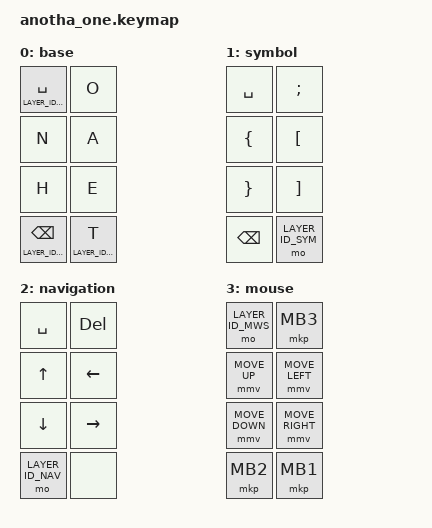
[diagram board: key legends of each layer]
/*
 * Copyright (c) 2022 The ZMK Contributors
 *
 * SPDX-License-Identifier: MIT
 */

#include <behaviors.dtsi>
#include <dt-bindings/zmk/keys.h>
#include <dt-bindings/zmk/bt.h>
#include <dt-bindings/zmk/pointing.h>

#define TIMEOUT_COMBO_2 20
#define TIMEOUT_COMBO_3 25
#define TIMEOUT_COMBO_4 30
#define TIMEOUT_COMBO_5 35

#define TIMEOUT_LAYER_HOLD 200
#define TIMEOUT_STICKY_LEADER_KEY 5000

#define QUICK_TAP_TIME 200

#define KEY_SPACE 0
#define KEY_O 1
#define KEY_N 2
#define KEY_A 3
#define KEY_H 4
#define KEY_E 5
#define KEY_BSPC 6
#define KEY_T 7

#define LAYER_ID_BASE 0
#define LAYER_ID_SYM  1
#define LAYER_ID_NAV  2
#define LAYER_ID_MWS  3

&sk {
	release-after-ms = <TIMEOUT_STICKY_LEADER_KEY>;
};

/ {
    combos {
        compatible = "zmk,combos";

        // Base: 1st row
        combo_l       { layers = <LAYER_ID_BASE>; timeout-ms = <TIMEOUT_COMBO_2>; key-positions = <KEY_O KEY_N>; bindings = <&kp L>; };
        combo_r       { layers = <LAYER_ID_BASE>; timeout-ms = <TIMEOUT_COMBO_2>; key-positions = <KEY_O KEY_H>; bindings = <&kp R>; };
        // Base: 2nd row
        combo_b       { layers = <LAYER_ID_BASE>; timeout-ms = <TIMEOUT_COMBO_2>; key-positions = <KEY_O KEY_A>; bindings = <&kp B>; };
        combo_g       { layers = <LAYER_ID_BASE>; timeout-ms = <TIMEOUT_COMBO_2>; key-positions = <KEY_O KEY_E>; bindings = <&kp G>; };
        // Base: 3rd row
        combo_y       { layers = <LAYER_ID_BASE>; timeout-ms = <TIMEOUT_COMBO_2>; key-positions = <KEY_N KEY_A>; bindings = <&kp Y>; };
        combo_f       { layers = <LAYER_ID_BASE>; timeout-ms = <TIMEOUT_COMBO_2>; key-positions = <KEY_H KEY_E>; bindings = <&kp F>; };
        // Base: 4th row
        combo_x       { layers = <LAYER_ID_BASE>; timeout-ms = <TIMEOUT_COMBO_3>; key-positions = <KEY_O KEY_N KEY_A>; bindings = <&kp X>; };
        combo_q       { layers = <LAYER_ID_BASE>; timeout-ms = <TIMEOUT_COMBO_3>; key-positions = <KEY_O KEY_H KEY_E>; bindings = <&kp Q>; };
        // Base: 5th row
        combo_comma   { layers = <LAYER_ID_BASE>; timeout-ms = <TIMEOUT_COMBO_3>; key-positions = <KEY_H KEY_A>; bindings = <&kp COMMA>; };
        combo_period  { layers = <LAYER_ID_BASE>; timeout-ms = <TIMEOUT_COMBO_3>; key-positions = <KEY_N KEY_E>; bindings = <&kp PERIOD>; };

        // T: 1st row
        combo_m       { layers = <LAYER_ID_BASE>; timeout-ms = <TIMEOUT_COMBO_3>; key-positions = <KEY_O KEY_N KEY_T>; bindings = <&kp M>; };
        combo_u       { layers = <LAYER_ID_BASE>; timeout-ms = <TIMEOUT_COMBO_2>; key-positions = <KEY_A KEY_T>; bindings = <&kp U>; };
        combo_w       { layers = <LAYER_ID_BASE>; timeout-ms = <TIMEOUT_COMBO_3>; key-positions = <KEY_O KEY_H KEY_T>; bindings = <&kp W>; };
        combo_i       { layers = <LAYER_ID_BASE>; timeout-ms = <TIMEOUT_COMBO_2>; key-positions = <KEY_E KEY_T>; bindings = <&kp I>; };
        // T: 2nd row
        combo_p       { layers = <LAYER_ID_BASE>; timeout-ms = <TIMEOUT_COMBO_3>; key-positions = <KEY_O KEY_A KEY_T>; bindings = <&kp P>; };
        combo_d       { layers = <LAYER_ID_BASE>; timeout-ms = <TIMEOUT_COMBO_2>; key-positions = <KEY_N KEY_T>; bindings = <&kp D>; };
        combo_k       { layers = <LAYER_ID_BASE>; timeout-ms = <TIMEOUT_COMBO_3>; key-positions = <KEY_O KEY_E KEY_T>; bindings = <&kp K>; };
        combo_c       { layers = <LAYER_ID_BASE>; timeout-ms = <TIMEOUT_COMBO_2>; key-positions = <KEY_H KEY_T>; bindings = <&kp C>; };
        // T: 3rd row
        combo_s       { layers = <LAYER_ID_BASE>; timeout-ms = <TIMEOUT_COMBO_2>; key-positions = <KEY_O KEY_T>; bindings = <&kp S>; };
        combo_j       { layers = <LAYER_ID_BASE>; timeout-ms = <TIMEOUT_COMBO_3>; key-positions = <KEY_N KEY_A KEY_T>; bindings = <&kp J>; };
        combo_v       { layers = <LAYER_ID_BASE>; timeout-ms = <TIMEOUT_COMBO_3>; key-positions = <KEY_H KEY_E KEY_T>; bindings = <&kp V>; };
        // T: 4th row
        combo_z       { layers = <LAYER_ID_BASE>; timeout-ms = <TIMEOUT_COMBO_4>; key-positions = <KEY_O KEY_N KEY_A KEY_T>; bindings = <&kp Z>; };
        combo_colon   { layers = <LAYER_ID_BASE>; timeout-ms = <TIMEOUT_COMBO_4>; key-positions = <KEY_O KEY_H KEY_E KEY_T>; bindings = <&kp COLON>; };
        // T: 5th row
        combo_grave   { layers = <LAYER_ID_BASE>; timeout-ms = <TIMEOUT_COMBO_3>; key-positions = <KEY_H KEY_A KEY_T>; bindings = <&kp GRAVE>; };
        combo_tilde   { layers = <LAYER_ID_BASE>; timeout-ms = <TIMEOUT_COMBO_3>; key-positions = <KEY_N KEY_E KEY_T>; bindings = <&kp TILDE>; };

        // Symbol: 1st row
        combo_squote  { layers = <LAYER_ID_SYM>; timeout-ms = <TIMEOUT_COMBO_2>; key-positions = <KEY_O KEY_N>; bindings = <&kp SQT>; };
        combo_dquote  { layers = <LAYER_ID_SYM>; timeout-ms = <TIMEOUT_COMBO_2>; key-positions = <KEY_O KEY_H>; bindings = <&kp DQT>; };
        // Symbol: 2nd row
        combo_amps    { layers = <LAYER_ID_SYM>; timeout-ms = <TIMEOUT_COMBO_2>; key-positions = <KEY_O KEY_A>; bindings = <&kp AMPS>; };
        combo_dollar  { layers = <LAYER_ID_SYM>; timeout-ms = <TIMEOUT_COMBO_2>; key-positions = <KEY_O KEY_E>; bindings = <&kp DOLLAR>; };
        // Symbol: 3rd row
        combo_lpar    { layers = <LAYER_ID_SYM>; timeout-ms = <TIMEOUT_COMBO_2>; key-positions = <KEY_N KEY_A>; bindings = <&kp LPAR>; };
        combo_rpar    { layers = <LAYER_ID_SYM>; timeout-ms = <TIMEOUT_COMBO_2>; key-positions = <KEY_H KEY_E>; bindings = <&kp RPAR>; };
        // Symbol: 4th row
        combo_bslh    { layers = <LAYER_ID_SYM>; timeout-ms = <TIMEOUT_COMBO_3>; key-positions = <KEY_O KEY_N KEY_A>; bindings = <&kp BSLH>; };
        combo_pipe    { layers = <LAYER_ID_SYM>; timeout-ms = <TIMEOUT_COMBO_3>; key-positions = <KEY_O KEY_H KEY_E>; bindings = <&kp PIPE>; };
        // Symbol: 5th row
        combo_lt      { layers = <LAYER_ID_SYM>; timeout-ms = <TIMEOUT_COMBO_3>; key-positions = <KEY_H KEY_A>; bindings = <&kp LT>; };
        combo_gt      { layers = <LAYER_ID_SYM>; timeout-ms = <TIMEOUT_COMBO_3>; key-positions = <KEY_N KEY_E>; bindings = <&kp GT>; };

        // Backspace: 1st row
        combo_n5      { layers = <LAYER_ID_BASE>; timeout-ms = <TIMEOUT_COMBO_3>; key-positions = <KEY_O KEY_N KEY_BSPC>; bindings = <&kp N5>; };
        combo_n3      { layers = <LAYER_ID_BASE>; timeout-ms = <TIMEOUT_COMBO_2>; key-positions = <KEY_A KEY_BSPC>; bindings = <&kp N3>; };
        combo_n6      { layers = <LAYER_ID_BASE>; timeout-ms = <TIMEOUT_COMBO_3>; key-positions = <KEY_O KEY_H KEY_BSPC>; bindings = <&kp N6>; };
        combo_n4      { layers = <LAYER_ID_BASE>; timeout-ms = <TIMEOUT_COMBO_2>; key-positions = <KEY_E KEY_BSPC>; bindings = <&kp N4>; };
        // Backspace: 2nd row
        combo_n7      { layers = <LAYER_ID_BASE>; timeout-ms = <TIMEOUT_COMBO_3>; key-positions = <KEY_O KEY_A KEY_BSPC>; bindings = <&kp N7>; };
        combo_n1      { layers = <LAYER_ID_BASE>; timeout-ms = <TIMEOUT_COMBO_2>; key-positions = <KEY_N KEY_BSPC>; bindings = <&kp N1>; };
        combo_n8      { layers = <LAYER_ID_BASE>; timeout-ms = <TIMEOUT_COMBO_3>; key-positions = <KEY_O KEY_E KEY_BSPC>; bindings = <&kp N8>; };
        combo_n2      { layers = <LAYER_ID_BASE>; timeout-ms = <TIMEOUT_COMBO_2>; key-positions = <KEY_H KEY_BSPC>; bindings = <&kp N2>; };
        // Backspace: 3rd row
        combo_minus   { layers = <LAYER_ID_BASE>; timeout-ms = <TIMEOUT_COMBO_2>; key-positions = <KEY_O KEY_BSPC>; bindings = <&kp MINUS>; };
        combo_n9      { layers = <LAYER_ID_BASE>; timeout-ms = <TIMEOUT_COMBO_3>; key-positions = <KEY_N KEY_A KEY_BSPC>; bindings = <&kp N9>; };
        combo_n0      { layers = <LAYER_ID_BASE>; timeout-ms = <TIMEOUT_COMBO_3>; key-positions = <KEY_H KEY_E KEY_BSPC>; bindings = <&kp N0>; };
        // Backspace: 4th row
        combo_equal   { layers = <LAYER_ID_BASE>; timeout-ms = <TIMEOUT_COMBO_4>; key-positions = <KEY_O KEY_N KEY_A KEY_BSPC>; bindings = <&kp EQUAL>; };
        combo_plus    { layers = <LAYER_ID_BASE>; timeout-ms = <TIMEOUT_COMBO_4>; key-positions = <KEY_O KEY_H KEY_E KEY_BSPC>; bindings = <&kp PLUS>; };
        // Backspace: 5th row
        combo_astrk   { layers = <LAYER_ID_BASE>; timeout-ms = <TIMEOUT_COMBO_3>; key-positions = <KEY_H KEY_A KEY_BSPC>; bindings = <&kp ASTRK>; };
        combo_fslh    { layers = <LAYER_ID_BASE>; timeout-ms = <TIMEOUT_COMBO_3>; key-positions = <KEY_N KEY_E KEY_BSPC>; bindings = <&kp FSLH>; };

        // Backspace + Space: 1st row
        combo_f5      { layers = <LAYER_ID_BASE>; timeout-ms = <TIMEOUT_COMBO_4>; key-positions = <KEY_SPACE KEY_O KEY_N KEY_BSPC>; bindings = <&kp F5>; };
        combo_f3      { layers = <LAYER_ID_BASE>; timeout-ms = <TIMEOUT_COMBO_3>; key-positions = <KEY_SPACE KEY_A KEY_BSPC>; bindings = <&kp F3>; };
        combo_f6      { layers = <LAYER_ID_BASE>; timeout-ms = <TIMEOUT_COMBO_4>; key-positions = <KEY_SPACE KEY_O KEY_H KEY_BSPC>; bindings = <&kp F6>; };
        combo_f4      { layers = <LAYER_ID_BASE>; timeout-ms = <TIMEOUT_COMBO_3>; key-positions = <KEY_SPACE KEY_E KEY_BSPC>; bindings = <&kp F4>; };
        // Backspace + Space: 2nd row
        combo_f7      { layers = <LAYER_ID_BASE>; timeout-ms = <TIMEOUT_COMBO_4>; key-positions = <KEY_SPACE KEY_O KEY_A KEY_BSPC>; bindings = <&kp F7>; };
        combo_f1      { layers = <LAYER_ID_BASE>; timeout-ms = <TIMEOUT_COMBO_3>; key-positions = <KEY_SPACE KEY_N KEY_BSPC>; bindings = <&kp F1>; };
        combo_f8      { layers = <LAYER_ID_BASE>; timeout-ms = <TIMEOUT_COMBO_4>; key-positions = <KEY_SPACE KEY_O KEY_E KEY_BSPC>; bindings = <&kp F8>; };
        combo_f2      { layers = <LAYER_ID_BASE>; timeout-ms = <TIMEOUT_COMBO_3>; key-positions = <KEY_SPACE KEY_H KEY_BSPC>; bindings = <&kp F2>; };
        // Backspace + Space: 3rd row
        combo_pscrn   { layers = <LAYER_ID_BASE>; timeout-ms = <TIMEOUT_COMBO_3>; key-positions = <KEY_SPACE KEY_O KEY_BSPC>; bindings = <&kp PSCRN>; };
        combo_f9      { layers = <LAYER_ID_BASE>; timeout-ms = <TIMEOUT_COMBO_4>; key-positions = <KEY_SPACE KEY_N KEY_A KEY_BSPC>; bindings = <&kp F9>; };
        combo_f10     { layers = <LAYER_ID_BASE>; timeout-ms = <TIMEOUT_COMBO_4>; key-positions = <KEY_SPACE KEY_H KEY_E KEY_BSPC>; bindings = <&kp F10>; };
        // Backspace + Space: 4th row
        combo_f11     { layers = <LAYER_ID_BASE>; timeout-ms = <TIMEOUT_COMBO_5>; key-positions = <KEY_SPACE KEY_O KEY_N KEY_A KEY_BSPC>; bindings = <&kp F11>; };
        combo_f12     { layers = <LAYER_ID_BASE>; timeout-ms = <TIMEOUT_COMBO_5>; key-positions = <KEY_SPACE KEY_O KEY_H KEY_E KEY_BSPC>; bindings = <&kp F12>; };
        // Backspace + Space: 5th row
        combo_br_up   { layers = <LAYER_ID_BASE>; timeout-ms = <TIMEOUT_COMBO_4>; key-positions = <KEY_SPACE KEY_H KEY_A KEY_BSPC>; bindings = <&kp C_BRI_UP>; };
        combo_br_dn   { layers = <LAYER_ID_BASE>; timeout-ms = <TIMEOUT_COMBO_4>; key-positions = <KEY_SPACE KEY_N KEY_E KEY_BSPC>; bindings = <&kp C_BRI_DN>; };

        // Navigation: 1st row
        combo_pg_up   { layers = <LAYER_ID_NAV>; timeout-ms = <TIMEOUT_COMBO_2>; key-positions = <KEY_O KEY_N>; bindings = <&kp PG_UP>; };
        combo_pg_dn   { layers = <LAYER_ID_NAV>; timeout-ms = <TIMEOUT_COMBO_2>; key-positions = <KEY_O KEY_H>; bindings = <&kp PG_DN>; };
        // Navigation: 2nd row
        combo_home    { layers = <LAYER_ID_NAV>; timeout-ms = <TIMEOUT_COMBO_2>; key-positions = <KEY_O KEY_A>; bindings = <&kp HOME>; };
        combo_end     { layers = <LAYER_ID_NAV>; timeout-ms = <TIMEOUT_COMBO_2>; key-positions = <KEY_O KEY_E>; bindings = <&kp END>; };
        // Navigation: 3rd row
        combo_copy    { layers = <LAYER_ID_NAV>; timeout-ms = <TIMEOUT_COMBO_2>; key-positions = <KEY_N KEY_A>; bindings = <&kp C_AC_COPY>; };
        combo_paste   { layers = <LAYER_ID_NAV>; timeout-ms = <TIMEOUT_COMBO_2>; key-positions = <KEY_H KEY_E>; bindings = <&kp C_AC_PASTE>; };
        // Navigation: 4th row
        combo_volup   { layers = <LAYER_ID_NAV>; timeout-ms = <TIMEOUT_COMBO_3>; key-positions = <KEY_O KEY_N KEY_A>; bindings = <&kp C_VOL_UP>; };
        combo_voldn   { layers = <LAYER_ID_NAV>; timeout-ms = <TIMEOUT_COMBO_3>; key-positions = <KEY_O KEY_H KEY_E>; bindings = <&kp C_VOL_DN>; };
        // Navigation: 5th row
        combo_hash    { layers = <LAYER_ID_NAV>; timeout-ms = <TIMEOUT_COMBO_3>; key-positions = <KEY_H KEY_A>; bindings = <&kp HASH>; };
        combo_excl    { layers = <LAYER_ID_NAV>; timeout-ms = <TIMEOUT_COMBO_3>; key-positions = <KEY_N KEY_E>; bindings = <&kp EXCL>; };

        // Mouse: 1st row
        combo_scrl_up { layers = <LAYER_ID_MWS>; timeout-ms = <TIMEOUT_COMBO_2>; key-positions = <KEY_O KEY_N>; bindings = <&msc SCRL_UP>; };
        combo_scrl_dn { layers = <LAYER_ID_MWS>; timeout-ms = <TIMEOUT_COMBO_2>; key-positions = <KEY_O KEY_H>; bindings = <&msc SCRL_DOWN>; };
        // Mouse: 2nd row
        combo_scrl_l  { layers = <LAYER_ID_MWS>; timeout-ms = <TIMEOUT_COMBO_2>; key-positions = <KEY_O KEY_A>; bindings = <&msc SCRL_LEFT>; };
        combo_scrl_r  { layers = <LAYER_ID_MWS>; timeout-ms = <TIMEOUT_COMBO_2>; key-positions = <KEY_O KEY_E>; bindings = <&msc SCRL_RIGHT>; };
        // Mouse: 3rd row
        combo_m4      { layers = <LAYER_ID_MWS>; timeout-ms = <TIMEOUT_COMBO_2>; key-positions = <KEY_N KEY_A>; bindings = <&mkp MB4>; };
        combo_m5      { layers = <LAYER_ID_MWS>; timeout-ms = <TIMEOUT_COMBO_2>; key-positions = <KEY_H KEY_E>; bindings = <&mkp MB5>; };
        // Mouse: 4th row
        // combo_acl0    { layers = <LAYER_ID_MWS>; timeout-ms = <TIMEOUT_COMBO_3>; key-positions = <KEY_O KEY_N KEY_A>; bindings = <>; };
        // combo_acl1    { layers = <LAYER_ID_MWS>; timeout-ms = <TIMEOUT_COMBO_3>; key-positions = <KEY_O KEY_H KEY_E>; bindings = <>; };

        // Modifiers: 1st row
        combo_shift   { layers = <LAYER_ID_BASE>; timeout-ms = <TIMEOUT_COMBO_3>; key-positions = <KEY_SPACE KEY_O KEY_N>; bindings = <&sk LSHFT>; };
        combo_gui     { layers = <LAYER_ID_BASE>; timeout-ms = <TIMEOUT_COMBO_3>; key-positions = <KEY_SPACE KEY_O KEY_A>; bindings = <&sk LGUI>; };
        // Modifiers: 2nd row
        combo_alt     { layers = <LAYER_ID_BASE>; timeout-ms = <TIMEOUT_COMBO_3>; key-positions = <KEY_SPACE KEY_O KEY_H>; bindings = <&sk LALT>; };
        combo_ctrl    { layers = <LAYER_ID_BASE>; timeout-ms = <TIMEOUT_COMBO_3>; key-positions = <KEY_SPACE KEY_O KEY_E>; bindings = <&sk LCTRL>; };
        // Modifiers: 3rd row
        combo_insert  { layers = <LAYER_ID_BASE>; timeout-ms = <TIMEOUT_COMBO_2>; key-positions = <KEY_N KEY_H>; bindings = <&kp INSERT>; };
        combo_tab     { layers = <LAYER_ID_BASE>; timeout-ms = <TIMEOUT_COMBO_2>; key-positions = <KEY_SPACE KEY_A>; bindings = <&kp TAB>; };
        // Modifiers: 4th row
        combo_escape  { layers = <LAYER_ID_BASE>; timeout-ms = <TIMEOUT_COMBO_2>; key-positions = <KEY_A KEY_E>; bindings = <&kp ESCAPE>; };
        combo_enter   { layers = <LAYER_ID_BASE>; timeout-ms = <TIMEOUT_COMBO_2>; key-positions = <KEY_SPACE KEY_E>; bindings = <&kp ENTER>; };
    };
};

// Layer on hold, key on press with quick-tap possibility
/ {
    behaviors {
        layer_kp_qt: layer_kp_qt {
            compatible = "zmk,behavior-hold-tap";
            #binding-cells = <2>;
            tapping_term_ms = <TIMEOUT_LAYER_HOLD>;
            quick-tap-ms = <QUICK_TAP_TIME>;
            flavor = "tap-preferred";
            bindings = <&mo>, <&kp>;
        };
    };
};

// Layer on hold, key on press
/ {
    behaviors {
        layer_kp: layer_kp {
            compatible = "zmk,behavior-hold-tap";
            #binding-cells = <2>;
            tapping_term_ms = <TIMEOUT_LAYER_HOLD>;
            flavor = "tap-preferred";
            bindings = <&mo>, <&kp>;
        };
    };
};

/ {
    keymap {
        compatible = "zmk,keymap";

        base {
            bindings = <
                &layer_kp_qt LAYER_ID_MWS SPACE &kp O
                &kp N                           &kp A
                &kp H                           &kp E
                &layer_kp_qt LAYER_ID_NAV BSPC  &layer_kp LAYER_ID_SYM T
            >;
        };

        symbol {
            bindings = <
                &kp SPACE        &kp SEMI
                &kp LBRC         &kp LBKT
                &kp RBRC         &kp RBKT
                &kp BSPC         &mo LAYER_ID_SYM
            >;
        };

        navigation {
            bindings = <
                &kp SPACE        &kp DEL
                &kp UP           &kp LEFT
                &kp DOWN         &kp RIGHT
                &mo LAYER_ID_NAV &none
            >;
        };

        mouse {
            bindings = <
                &mo LAYER_ID_MWS &mkp MB3
                &mmv MOVE_UP     &mmv MOVE_LEFT
                &mmv MOVE_DOWN   &mmv MOVE_RIGHT
                &mkp MB2         &mkp MB1
            >;
        };
    };
};
